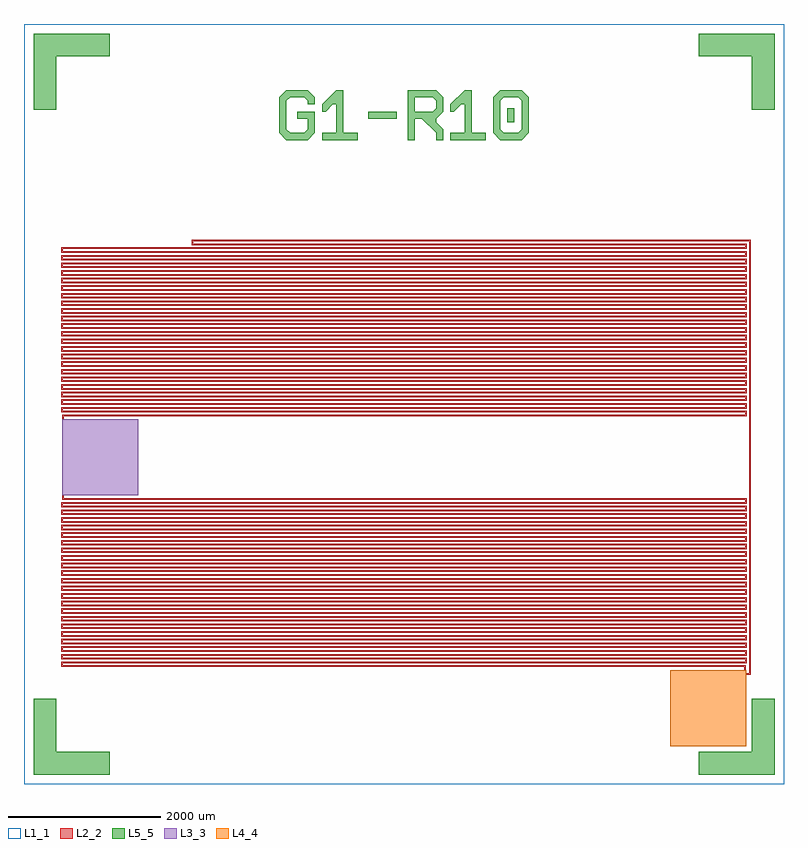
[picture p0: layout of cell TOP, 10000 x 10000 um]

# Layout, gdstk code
import gdstk
lib = gdstk.Library(unit=1e-6, precision=1e-09)
def R(c, l, rs):  # rectangles x0, y0, x1, y1
    for r in rs: c.add(gdstk.rectangle(r[:2], r[2:], *l))
def P(c, l, *ps):  # polygons
    for p in ps: c.add(gdstk.Polygon(p, *l))
L1_1 = (1, 1)
L2_2 = (2, 2)
L3_3 = (3, 3)
L4_4 = (4, 4)
L5_5 = (5, 5)

top = lib.new_cell('TOP')
R(top, L1_1, [(-5000,-5000,5000,5000)])
R(top, L3_3, [(-4500,-1200,-3500,-200)])
R(top, L4_4, [(3500,-4500,4500,-3500)])
R(top, L5_5, [(1360,3706.734,1453.75,3894.234), (-468.125,3753.609,-93.125,3847.359)])
P(top, L5_5, [(-1546.25,3472.359),(-1640,3566.109),(-1640,4034.859),(-1546.25,4128.609),(-1265,4128.609),(-1171.25,4034.859),(-1171.25,3941.109),(-1265,3941.109),(-1265,3987.984),(-1311.875,4034.859),(-1499.375,4034.859),(-1546.25,3987.984),(-1546.25,3612.984),(-1499.375,3566.109),(-1311.875,3566.109),(-1265,3612.984),(-1265,3753.609),(-1405.625,3753.609),(-1405.625,3847.359),(-1171.25,3847.359),(-1171.25,3566.109),(-1265,3472.359)],
  [(-1077.5,3472.359),(-1077.5,3566.109),(-890,3566.109),(-890,3941.109),(-936.875,3941.109),(-1030.625,3847.359),(-1077.5,3847.359),(-1077.5,3941.109),(-890,4128.609),(-796.25,4128.609),(-796.25,3566.109),(-608.75,3566.109),(-608.75,3472.359)],
  [(47.5,3472.359),(47.5,4128.609),(422.5,4128.609),(516.25,4034.859),(141.25,4034.859),(141.25,3847.359),(375.625,3847.359),(422.5,3894.234),(422.5,3987.984),(375.625,4034.859),(516.25,4034.859),(516.25,3847.359),(422.5,3753.609),(422.5,3706.734),(516.25,3612.984),(516.25,3472.359),(422.5,3472.359),(422.5,3566.109),(235,3753.609),(141.25,3753.609),(141.25,3472.359)],
  [(610,3472.359),(610,3566.109),(797.5,3566.109),(797.5,3941.109),(750.625,3941.109),(656.875,3847.359),(610,3847.359),(610,3941.109),(797.5,4128.609),(891.25,4128.609),(891.25,3566.109),(1078.75,3566.109),(1078.75,3472.359)],
  [(1266.25,3472.359),(1172.5,3566.109),(1172.5,4034.859),(1266.25,4128.609),(1547.5,4128.609),(1641.25,4034.859),(1313.125,4034.859),(1266.25,3987.984),(1266.25,3612.984),(1313.125,3566.109),(1500.625,3566.109),(1547.5,3612.984),(1547.5,3987.984),(1500.625,4034.859),(1641.25,4034.859),(1641.25,3566.109),(1547.5,3472.359)],
  [(-4875,-4875),(-4875,-3875),(-4575,-3875),(-4575,-4575),(-3875,-4575),(-3875,-4875)],
  [(-4875,-4875),(-4875,-3875),(-4575,-3875),(-4575,-4575),(-3875,-4575),(-3875,-4875)],
  [(3875,-4875),(3875,-4575),(4575,-4575),(4575,-3875),(4875,-3875),(4875,-4875)],
  [(-4875,3875),(-4875,4875),(-3875,4875),(-3875,4575),(-4575,4575),(-4575,3875)],
  [(4575,3875),(4575,4575),(3875,4575),(3875,4875),(4875,4875),(4875,3875)])
top.add(gdstk.FlexPath([(4490,-3500),(4490,-3450),(-4500,-3450),(-4500,-3400),(4500,-3400),(4500,-3350),(-4500,-3350),(-4500,-3300),(4500,-3300),(4500,-3250),(-4500,-3250),(-4500,-3200),(4500,-3200),(4500,-3150),(-4500,-3150),(-4500,-3100),(4500,-3100),(4500,-3050),(-4500,-3050),(-4500,-3000),(4500,-3000),(4500,-2950),(-4500,-2950),(-4500,-2900),(4500,-2900),(4500,-2850),(-4500,-2850),(-4500,-2800),(4500,-2800),(4500,-2750),(-4500,-2750),(-4500,-2700),(4500,-2700),(4500,-2650),(-4500,-2650),(-4500,-2600),(4500,-2600),(4500,-2550),(-4500,-2550),(-4500,-2500),(4500,-2500),(4500,-2450),(-4500,-2450),(-4500,-2400),(4500,-2400),(4500,-2350),(-4500,-2350),(-4500,-2300),(4500,-2300),(4500,-2250),(-4500,-2250),(-4500,-2200),(4500,-2200),(4500,-2150),(-4500,-2150),(-4500,-2100),(4500,-2100),(4500,-2050),(-4500,-2050),(-4500,-2000),(4500,-2000),(4500,-1950),(-4500,-1950),(-4500,-1900),(4500,-1900),(4500,-1850),(-4500,-1850),(-4500,-1800),(4500,-1800),(4500,-1750),(-4500,-1750),(-4500,-1700),(4500,-1700),(4500,-1650),(-4500,-1650),(-4500,-1600),(4500,-1600),(4500,-1550),(-4500,-1550),(-4500,-1500),(4500,-1500),(4500,-1450),(-4500,-1450),(-4500,-1400),(4500,-1400),(4500,-1350),(-4500,-1350),(-4500,-1300),(4500,-1300),(4500,-1250),(-4490,-1250),(-4490,-1200)], 19.97, ends="flush", simple_path=True, layer=2, datatype=2))  # L2_2
top.add(gdstk.FlexPath([(-4490,-200),(-4490,-150),(4500,-150),(4500,-100),(-4500,-100),(-4500,-50),(4500,-50),(4500,0),(-4500,0),(-4500,50),(4500,50),(4500,100),(-4500,100),(-4500,150),(4500,150),(4500,200),(-4500,200),(-4500,250),(4500,250),(4500,300),(-4500,300),(-4500,350),(4500,350),(4500,400),(-4500,400),(-4500,450),(4500,450),(4500,500),(-4500,500),(-4500,550),(4500,550),(4500,600),(-4500,600),(-4500,650),(4500,650),(4500,700),(-4500,700),(-4500,750),(4500,750),(4500,800),(-4500,800),(-4500,850),(4500,850),(4500,900),(-4500,900),(-4500,950),(4500,950),(4500,1000),(-4500,1000),(-4500,1050),(4500,1050),(4500,1100),(-4500,1100),(-4500,1150),(4500,1150),(4500,1200),(-4500,1200),(-4500,1250),(4500,1250),(4500,1300),(-4500,1300),(-4500,1350),(4500,1350),(4500,1400),(-4500,1400),(-4500,1450),(4500,1450),(4500,1500),(-4500,1500),(-4500,1550),(4500,1550),(4500,1600),(-4500,1600),(-4500,1650),(4500,1650),(4500,1700),(-4500,1700),(-4500,1750),(4500,1750),(4500,1800),(-4500,1800),(-4500,1850),(4500,1850),(4500,1900),(-4500,1900),(-4500,1950),(4500,1950),(4500,2000),(-4500,2000),(-4500,2050),(4500,2050),(4500,2100),(-2785,2100),(-2785,2150),(4550,2150),(4550,-3550),(4500,-3550)], 19.97, ends="flush", simple_path=True, layer=2, datatype=2))  # L2_2

lib.write_gds('TOP.gds')
